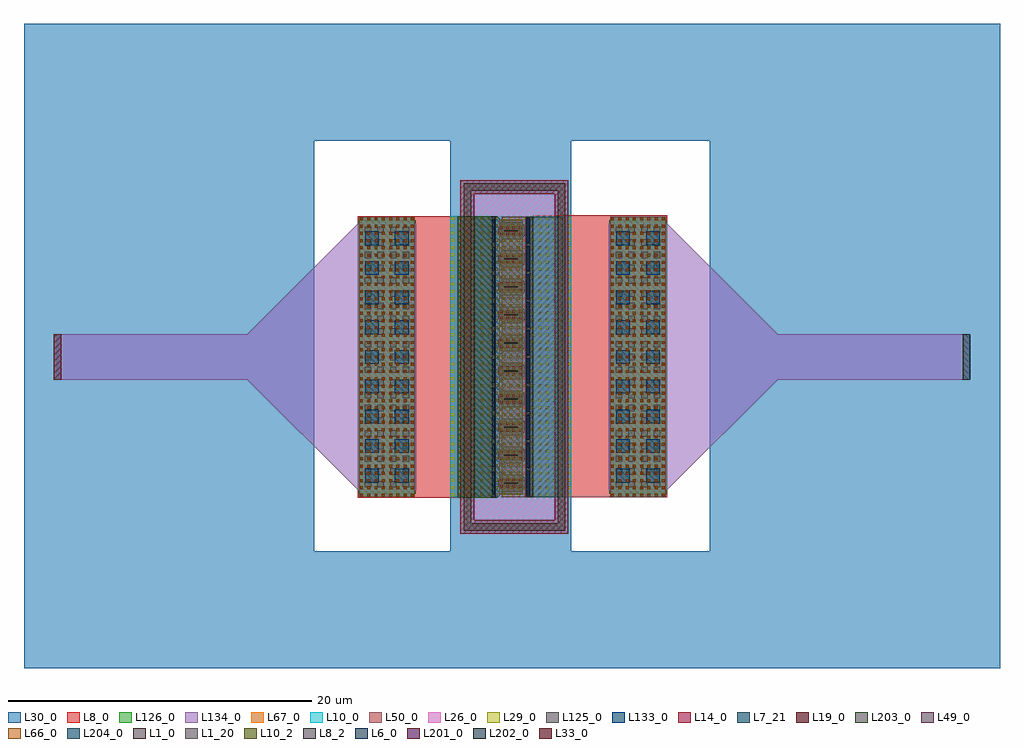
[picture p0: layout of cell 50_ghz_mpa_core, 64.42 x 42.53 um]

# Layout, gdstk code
from math import pi, radians
import gdstk
lib = gdstk.Library(unit=1e-6, precision=1e-09)
def R(c, l, rs):  # rectangles x0, y0, x1, y1
    for r in rs: c.add(gdstk.rectangle(r[:2], r[2:], *l))
def A(c, l, x, y, w, h, nx, ny, dx, dy):  # array of equal rectangles
    R(c, l, [(x+i*dx, y+j*dy, x+i*dx+w, y+j*dy+h) for i in range(nx) for j in range(ny)])
def P(c, l, *ps):  # polygons
    for p in ps: c.add(gdstk.Polygon(p, *l))
L1_0 = (1, 0)
L1_20 = (1, 20)
L6_0 = (6, 0)
L7_21 = (7, 21)
L8_0 = (8, 0)
L8_2 = (8, 2)
L10_0 = (10, 0)
L10_2 = (10, 2)
L14_0 = (14, 0)
L19_0 = (19, 0)
L26_0 = (26, 0)
L29_0 = (29, 0)
L30_0 = (30, 0)
L33_0 = (33, 0)
L49_0 = (49, 0)
L50_0 = (50, 0)
L66_0 = (66, 0)
L67_0 = (67, 0)
L125_0 = (125, 0)
L126_0 = (126, 0)
L133_0 = (133, 0)
L134_0 = (134, 0)
L201_0 = (201, 0)
L202_0 = (202, 0)
L203_0 = (203, 0)
L204_0 = (204, 0)

npn13g2_1 = lib.new_cell('npn13G2$1')
A(npn13g2_1, L1_0, -0.925, 0.98, 1.85, 0.3, 10, 1, 1.85, 0)
P(npn13g2_1, L1_0, [(-3.15,-3.13),(-3.15,3.58),(19.3,3.58),(19.3,3.08),(-2.65,3.08),(-2.65,-2.63),(19.3,-2.63),(19.3,3.58),(19.8,3.58),(19.8,-3.13)])
P(npn13g2_1, L1_20, [(-0.235,-0.83),(-0.445,-0.62),(-0.925,-0.62),(-0.925,0.98),(0.925,0.98),(0.925,-0.62),(0.445,-0.62),(0.235,-0.83)],
  [(1.615,-0.83),(1.405,-0.62),(0.925,-0.62),(0.925,0.98),(2.775,0.98),(2.775,-0.62),(2.295,-0.62),(2.085,-0.83)],
  [(3.465,-0.83),(3.255,-0.62),(2.775,-0.62),(2.775,0.98),(4.625,0.98),(4.625,-0.62),(4.145,-0.62),(3.935,-0.83)],
  [(5.315,-0.83),(5.105,-0.62),(4.625,-0.62),(4.625,0.98),(6.475,0.98),(6.475,-0.62),(5.995,-0.62),(5.785,-0.83)],
  [(7.165,-0.83),(6.955,-0.62),(6.475,-0.62),(6.475,0.98),(8.325,0.98),(8.325,-0.62),(7.845,-0.62),(7.635,-0.83)],
  [(9.015,-0.83),(8.805,-0.62),(8.325,-0.62),(8.325,0.98),(10.175,0.98),(10.175,-0.62),(9.695,-0.62),(9.485,-0.83)],
  [(10.865,-0.83),(10.655,-0.62),(10.175,-0.62),(10.175,0.98),(12.025,0.98),(12.025,-0.62),(11.545,-0.62),(11.335,-0.83)],
  [(12.715,-0.83),(12.505,-0.62),(12.025,-0.62),(12.025,0.98),(13.875,0.98),(13.875,-0.62),(13.395,-0.62),(13.185,-0.83)],
  [(14.565,-0.83),(14.355,-0.62),(13.875,-0.62),(13.875,0.98),(15.725,0.98),(15.725,-0.62),(15.245,-0.62),(15.035,-0.83)],
  [(16.415,-0.83),(16.205,-0.62),(15.725,-0.62),(15.725,0.98),(17.575,0.98),(17.575,-0.62),(17.095,-0.62),(16.885,-0.83)])
A(npn13g2_1, L6_0, -0.76, -1.22, 1.52, 0.16, 10, 1, 1.85, 0)
A(npn13g2_1, L6_0, -0.825, 1.05, 1.65, 0.16, 10, 1, 1.85, 0)
P(npn13g2_1, L7_21, [(-0.975,-2.43),(-0.975,-0.9),(-0.555,-0.48),(-0.555,0.69),(-0.305,0.94),(0.305,0.94),(0.555,0.69),(0.555,-0.48),(0.975,-0.9),(0.975,-2.43)],
  [(0.875,-2.43),(0.875,-0.9),(1.295,-0.48),(1.295,0.69),(1.545,0.94),(2.155,0.94),(2.405,0.69),(2.405,-0.48),(2.825,-0.9),(2.825,-2.43)],
  [(2.725,-2.43),(2.725,-0.9),(3.145,-0.48),(3.145,0.69),(3.395,0.94),(4.005,0.94),(4.255,0.69),(4.255,-0.48),(4.675,-0.9),(4.675,-2.43)],
  [(4.575,-2.43),(4.575,-0.9),(4.995,-0.48),(4.995,0.69),(5.245,0.94),(5.855,0.94),(6.105,0.69),(6.105,-0.48),(6.525,-0.9),(6.525,-2.43)],
  [(6.425,-2.43),(6.425,-0.9),(6.845,-0.48),(6.845,0.69),(7.095,0.94),(7.705,0.94),(7.955,0.69),(7.955,-0.48),(8.375,-0.9),(8.375,-2.43)],
  [(8.275,-2.43),(8.275,-0.9),(8.695,-0.48),(8.695,0.69),(8.945,0.94),(9.555,0.94),(9.805,0.69),(9.805,-0.48),(10.225,-0.9),(10.225,-2.43)],
  [(10.125,-2.43),(10.125,-0.9),(10.545,-0.48),(10.545,0.69),(10.795,0.94),(11.405,0.94),(11.655,0.69),(11.655,-0.48),(12.075,-0.9),(12.075,-2.43)],
  [(11.975,-2.43),(11.975,-0.9),(12.395,-0.48),(12.395,0.69),(12.645,0.94),(13.255,0.94),(13.505,0.69),(13.505,-0.48),(13.925,-0.9),(13.925,-2.43)],
  [(13.825,-2.43),(13.825,-0.9),(14.245,-0.48),(14.245,0.69),(14.495,0.94),(15.105,0.94),(15.355,0.69),(15.355,-0.48),(15.775,-0.9),(15.775,-2.43)],
  [(15.675,-2.43),(15.675,-0.9),(16.095,-0.48),(16.095,0.69),(16.345,0.94),(16.955,0.94),(17.205,0.69),(17.205,-0.48),(17.625,-0.9),(17.625,-2.43)])
A(npn13g2_1, L8_0, -0.35, -0.785, 0.7, 1.555, 10, 1, 1.85, 0)
R(npn13g2_1, L8_0, [(-0.975,-1.26,17.625,-1.02), (-0.925,1.02,17.575,1.46)])
R(npn13g2_1, L8_2, [(-0.975,-1.26,17.625,-1.02), (-0.925,1.02,17.575,1.46)])
R(npn13g2_1, L10_0, [(-0.925,-0.785,17.575,0.77)])
R(npn13g2_1, L10_2, [(-0.745,-0.785,17.395,0.77)])
P(npn13g2_1, L14_0, [(-3.35,-3.33),(-3.35,3.78),(19.1,3.78),(19.1,2.88),(-2.45,2.88),(-2.45,-2.43),(19.1,-2.43),(19.1,3.78),(20,3.78),(20,-3.33)])
A(npn13g2_1, L19_0, -0.3, -0.72, 0.19, 0.19, 1, 4, 0, 0.41)
A(npn13g2_1, L19_0, 0.11, -0.72, 0.19, 0.19, 1, 4, 0, 0.41)
A(npn13g2_1, L19_0, 1.55, -0.72, 0.19, 0.19, 1, 4, 0, 0.41)
A(npn13g2_1, L19_0, 1.96, -0.72, 0.19, 0.19, 1, 4, 0, 0.41)
A(npn13g2_1, L19_0, 3.4, -0.72, 0.19, 0.19, 1, 4, 0, 0.41)
A(npn13g2_1, L19_0, 3.81, -0.72, 0.19, 0.19, 1, 4, 0, 0.41)
A(npn13g2_1, L19_0, 5.25, -0.72, 0.19, 0.19, 1, 4, 0, 0.41)
A(npn13g2_1, L19_0, 5.66, -0.72, 0.19, 0.19, 1, 4, 0, 0.41)
A(npn13g2_1, L19_0, 7.1, -0.72, 0.19, 0.19, 1, 4, 0, 0.41)
A(npn13g2_1, L19_0, 7.51, -0.72, 0.19, 0.19, 1, 4, 0, 0.41)
A(npn13g2_1, L19_0, 8.95, -0.72, 0.19, 0.19, 1, 4, 0, 0.41)
A(npn13g2_1, L19_0, 9.36, -0.72, 0.19, 0.19, 1, 4, 0, 0.41)
A(npn13g2_1, L19_0, 10.8, -0.72, 0.19, 0.19, 1, 4, 0, 0.41)
A(npn13g2_1, L19_0, 11.21, -0.72, 0.19, 0.19, 1, 4, 0, 0.41)
A(npn13g2_1, L19_0, 12.65, -0.72, 0.19, 0.19, 1, 4, 0, 0.41)
A(npn13g2_1, L19_0, 13.06, -0.72, 0.19, 0.19, 1, 4, 0, 0.41)
A(npn13g2_1, L19_0, 14.5, -0.72, 0.19, 0.19, 1, 4, 0, 0.41)
A(npn13g2_1, L19_0, 14.91, -0.72, 0.19, 0.19, 1, 4, 0, 0.41)
A(npn13g2_1, L19_0, 16.35, -0.72, 0.19, 0.19, 1, 4, 0, 0.41)
A(npn13g2_1, L19_0, 16.76, -0.72, 0.19, 0.19, 1, 4, 0, 0.41)
R(npn13g2_1, L26_0, [(-2.45,-2.43,19.1,2.88)])
A(npn13g2_1, L33_0, -0.035, -0.45, 0.07, 0.9, 10, 1, 1.85, 0)
npn13g2_1.add(gdstk.Label('npn13G2', (0.015,2.31), layer=63, texttype=0))
npn13g2_1.add(gdstk.Label('C', (8.325,1.24), layer=63, texttype=0))
npn13g2_1.add(gdstk.Label('B', (8.325,-1.14), layer=63, texttype=0))
npn13g2_1.add(gdstk.Label('E', (8.325,-0.007), layer=63, texttype=0))
npn13g2_1.add(gdstk.Label('Ae=10*1*0.07*0.90', (-1.977,-2.546), layer=63, texttype=0))

via_stack_1 = lib.new_cell('via_stack$1')
R(via_stack_1, L8_0, [(-1.825,-9.265,1.825,9.265)])
R(via_stack_1, L10_0, [(-1.825,-9.265,1.825,9.265)])
A(via_stack_1, L19_0, -1.775, -9.215, 0.19, 0.19, 8, 39, 0.48, 0.48)
A(via_stack_1, L29_0, -1.775, -9.215, 0.19, 0.19, 8, 39, 0.48, 0.48)
R(via_stack_1, L30_0, [(-1.825,-9.265,1.825,9.265)])
A(via_stack_1, L49_0, -1.775, -9.215, 0.19, 0.19, 8, 39, 0.48, 0.48)
R(via_stack_1, L50_0, [(-1.825,-9.265,1.825,9.265)])
A(via_stack_1, L66_0, -1.775, -9.215, 0.19, 0.19, 8, 39, 0.48, 0.48)
R(via_stack_1, L67_0, [(-1.825,-9.265,1.825,9.265), (-1.57,-8.71,1.57,8.71)])
A(via_stack_1, L125_0, -1.47, -8.61, 0.42, 0.42, 4, 21, 0.84, 0.84)
R(via_stack_1, L126_0, [(-1.89,-9.03,1.89,9.03), (-1.93,-8.79,1.93,8.79)])
A(via_stack_1, L133_0, -1.43, -8.29, 0.9, 0.9, 1, 9, 0, 1.96)
A(via_stack_1, L133_0, 0.53, -8.29, 0.9, 0.9, 1, 9, 0, 1.96)
R(via_stack_1, L134_0, [(-1.93,-8.79,1.93,8.79)])

via_stack = lib.new_cell('via_stack')
R(via_stack, L10_0, [(-3.985,-9.265,3.985,9.265)])
A(via_stack, L29_0, -3.935, -9.215, 0.19, 0.19, 17, 39, 0.48, 0.48)
R(via_stack, L30_0, [(-3.985,-9.265,3.985,9.265)])

c_50_ghz_mpa_core = lib.new_cell('50_ghz_mpa_core')
R(c_50_ghz_mpa_core, L8_0, [(-14.725,-17.78,-5.87,0.82), (-3.15,-17.73,5.705,0.87)])
R(c_50_ghz_mpa_core, L30_0, [(-36.75,-29.02,-34.8,13.51), (-34.8,-29.02,-17.595,13.51), (-17.595,-29.02,8.515,-21.315), (8.515,-29.02,25.72,13.51), (25.72,-29.02,27.67,13.51), (-8.6,-21.315,-0.63,-17.725), (-8.6,0.805,-0.63,5.805), (-17.595,5.805,8.515,13.51)])
R(c_50_ghz_mpa_core, L134_0, [(-34.8,-9.97,-14.725,-6.97), (5.705,-9.97,25.72,-6.97)])
P(c_50_ghz_mpa_core, L134_0, [(5.705,-6.97),(5.705,0.31),(12.985,-6.97)],
  [(5.705,-17.25),(5.705,-9.97),(12.985,-9.97)],
  [(-14.725,-17.25),(-22.005,-9.97),(-14.725,-9.97)],
  [(-22.005,-6.97),(-14.725,0.31),(-14.725,-6.97)],
  [(-22.005,-6.97),(-14.725,0.31),(-14.725,-6.97)])
R(c_50_ghz_mpa_core, L201_0, [(-34.8,-9.97,-34.3,-6.97)])
R(c_50_ghz_mpa_core, L202_0, [(25.22,-9.97,25.72,-6.97)])
R(c_50_ghz_mpa_core, L203_0, [(-8.135,-17.78,-5.625,0.82)])
R(c_50_ghz_mpa_core, L204_0, [(-3.59,-17.73,-1.19,0.77)])
c_50_ghz_mpa_core.add(gdstk.Reference(npn13g2_1, (-4.61,-0.155), rotation=3*pi/2))
c_50_ghz_mpa_core.add(gdstk.Reference(via_stack_1, (-12.795,-8.48)))
c_50_ghz_mpa_core.add(gdstk.Reference(via_stack_1, (-12.795,-8.48)))
c_50_ghz_mpa_core.add(gdstk.Reference(via_stack, (-4.615,-8.46)))
c_50_ghz_mpa_core.add(gdstk.Reference(via_stack_1, (-12.795,-8.48)))
c_50_ghz_mpa_core.add(gdstk.Reference(via_stack_1, (3.775,-8.48), rotation=pi))

lib.write_gds('50_ghz_mpa_core.gds')
